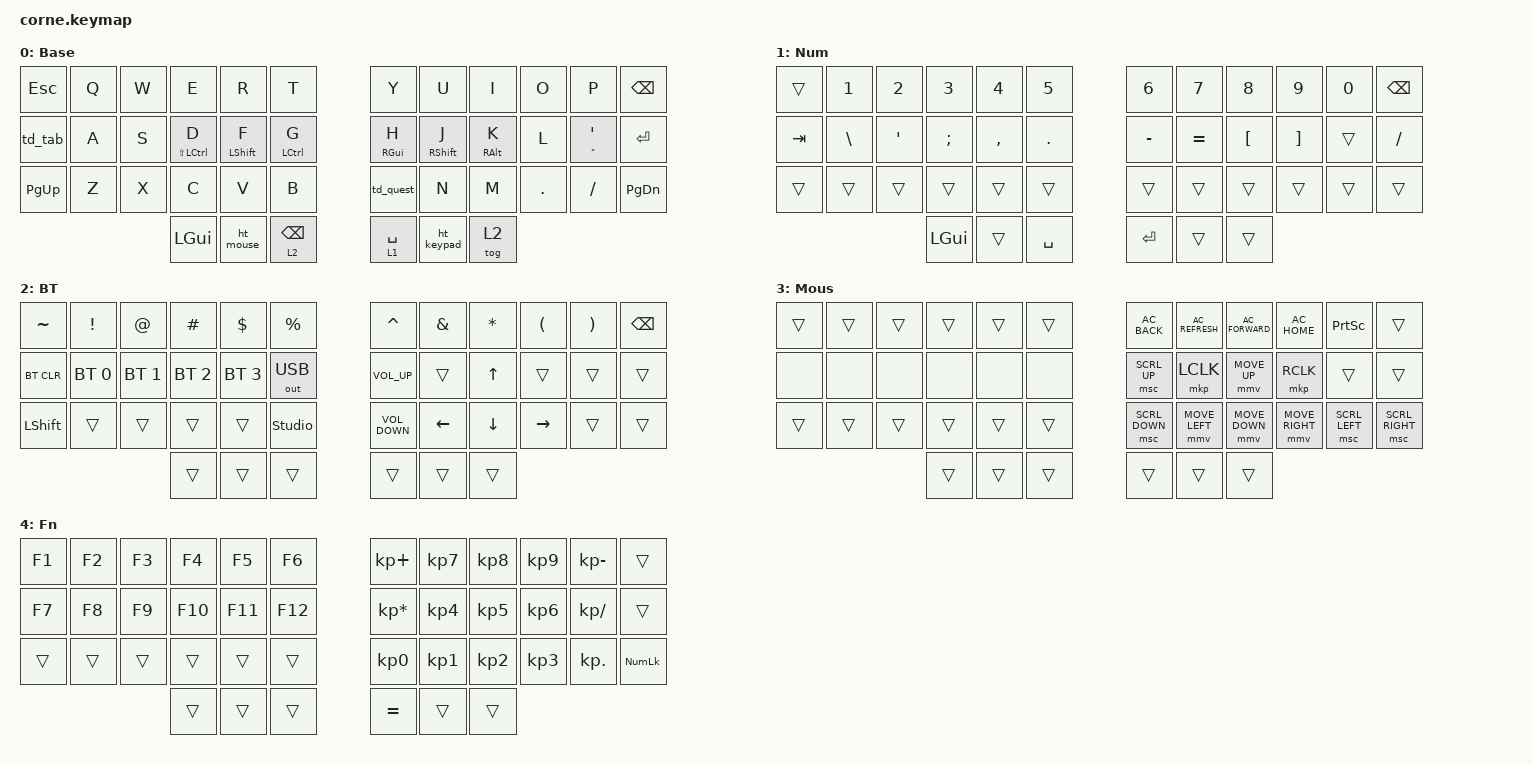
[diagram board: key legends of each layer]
/*
 * Copyright (c) 2020 The ZMK Contributors
 *
 * SPDX-License-Identifier: MIT
 */

#define ZMK_POINTING_DEFAULT_MOVE_VAL 1200  // default: 600
#define ZMK_POINTING_DEFAULT_SCRL_VAL 20    // default: 10

#include <behaviors.dtsi>
#include <dt-bindings/zmk/bt.h>
#include <dt-bindings/zmk/keys.h>
#include <dt-bindings/zmk/outputs.h>
#include <dt-bindings/zmk/pointing.h>

/ {
    behaviors {
        hm: hm {
            compatible = "zmk,behavior-hold-tap";
            label = "HM";
            bindings = <&kp>, <&kp>;

            #binding-cells = <2>;
            tapping-term-ms = <180>;
            flavor = "balanced";
            require-prior-idle-ms = <130>;
        };

        td_tab: td_tab {
            compatible = "zmk,behavior-tap-dance";
            label = "TD_TAB";
            #binding-cells = <0>;
            bindings = <&kp TAB>, <&kp CAPS>;
        };

        ht_keypad: ht_keypad {
            compatible = "zmk,behavior-tap-dance";
            label = "HT_KEYPAD";
            #binding-cells = <0>;
            bindings = <&mo 4>, <&tog 4>;
        };

        td_quest: td_quest {
            compatible = "zmk,behavior-tap-dance";
            label = "TD_QUEST";
            #binding-cells = <0>;
            bindings = <&kp COMMA>, <&kp QUESTION>;

            tapping-term-ms = <200>;
        };

        ht_mouse: ht_mouse {
            compatible = "zmk,behavior-tap-dance";
            label = "HT_MOUSE";
            #binding-cells = <0>;
            bindings = <&mo 3>, <&tog 3>;
        };
    };

    keymap {
        compatible = "zmk,keymap";

        Base {
            display-name = "Base";

            // -----------------------------------------------------------------------------------------
            // |  TAB |  Q  |  W  |  E  |  R  |  T  |   |  Y  |  U   |  I  |  O  |  P  | BSPC |
            // | CTRL |  A  |  S  |  D  |  F  |  G  |   |  H  |  J   |  K  |  L  |  ;  |  '   |
            // | SHFT |  Z  |  X  |  C  |  V  |  B  |   |  N  |  M   |  ,  |  .  |  /  | ESC  |
            //                    | GUI | LWR | SPC |   | ENT | RSE  | ALT |

            bindings = <
&kp ESCAPE  &kp Q  &kp W  &kp E            &kp R        &kp T              &kp Y            &kp U              &kp I            &kp O    &kp P                   &kp BSPC
&td_tab     &kp A  &kp S  &hm LS(LCTRL) D  &hm LSHFT F  &hm LCTRL G        &hm RIGHT_GUI H  &hm RIGHT_SHIFT J  &hm RIGHT_ALT K  &kp L    &mt DOUBLE_QUOTES APOS  &kp ENTER
&kp PG_UP   &kp Z  &kp X  &kp C            &kp V        &kp B              &td_quest        &kp N              &kp M            &kp DOT  &kp FSLH                &kp PAGE_DOWN
                          &kp LGUI         &ht_mouse    &lt 2 BACKSPACE    &lt 1 SPACE      &ht_keypad         &tog 2
            >;
        };

        Num {
            display-name = "Num";

            // -----------------------------------------------------------------------------------------
            // |  TAB |  1  |  2  |  3  |  4  |  5  |   |  6  |  7  |  8  |  9  |  0  | BSPC |
            // | BTCLR| BT1 | BT2 | BT3 | BT4 | BT5 |   | LFT | DWN |  UP | RGT |     |      |
            // | SHFT |     |     |     |     |     |   |     |     |     |     |     |      |
            //                    | GUI |     | SPC |   | ENT |     | ALT |

            bindings = <
&trans   &kp N1         &kp N2            &kp N3         &kp N4     &kp N5        &kp N6     &kp N7     &kp N8            &kp N9             &kp N0  &kp BSPC
&kp TAB  &kp BACKSLASH  &kp SINGLE_QUOTE  &kp SEMICOLON  &kp COMMA  &kp PERIOD    &kp MINUS  &kp EQUAL  &kp LEFT_BRACKET  &kp RIGHT_BRACKET  &trans  &kp SLASH
&trans   &trans         &trans            &trans         &trans     &trans        &trans     &trans     &trans            &trans             &trans  &trans
                                          &kp LGUI       &trans     &kp SPACE     &kp RET    &trans     &trans
            >;
        };

        BT {
            display-name = "BT";

            // -----------------------------------------------------------------------------------------
            // |  TAB |  !  |  @  |  #  |  $  |  %  |   |  ^  |  &  |  *  |  (  |  )  | BSPC |
            // | CTRL |     |     |     |     |     |   |  -  |  =  |  [  |  ]  |  \  |  `   |
            // | SHFT |     |     |     |     |     |   |  _  |  +  |  {  |  }  |  |  |  ~   |
            //                    | GUI |     | SPC |   | ENT |     | ALT |

            bindings = <
&kp TILDE   &kp EXCL      &kp AT        &kp HASH      &kp DLLR      &kp PRCNT         &kp CARET          &kp AMPS  &kp ASTRK     &kp LPAR   &kp RPAR  &kp BSPC
&bt BT_CLR  &bt BT_SEL 0  &bt BT_SEL 1  &bt BT_SEL 2  &bt BT_SEL 3  &out OUT_USB      &kp C_VOLUME_UP    &trans    &kp UP_ARROW  &trans     &trans    &trans
&kp LSHFT   &trans        &trans        &trans        &trans        &studio_unlock    &kp C_VOLUME_DOWN  &kp LEFT  &kp DOWN      &kp RIGHT  &trans    &trans
                                        &trans        &trans        &trans            &trans             &trans    &trans
            >;
        };

        Mouse {
            display-name = "Mous";
            bindings = <
&trans  &trans  &trans  &trans  &trans  &trans    &kp C_AC_BACK   &kp C_AC_REFRESH  &kp C_AC_FORWARD  &kp C_AC_HOME    &kp PRINTSCREEN  &trans
&none   &none   &none   &none   &none   &none     &msc SCRL_UP    &mkp LCLK         &mmv MOVE_UP      &mkp RCLK        &trans           &trans
&trans  &trans  &trans  &trans  &trans  &trans    &msc SCRL_DOWN  &mmv MOVE_LEFT    &mmv MOVE_DOWN    &mmv MOVE_RIGHT  &msc SCRL_LEFT   &msc SCRL_RIGHT
                        &trans  &trans  &trans    &trans          &trans            &trans
            >;
        };

        FN {
            display-name = "Fn";
            bindings = <
&kp F1  &kp F2  &kp F3  &kp F4   &kp F5   &kp F6     &kp KP_PLUS      &kp KP_NUMBER_7  &kp KP_NUMBER_8  &kp KP_NUMBER_9  &kp KP_SUBTRACT  &trans
&kp F7  &kp F8  &kp F9  &kp F10  &kp F11  &kp F12    &kp KP_MULTIPLY  &kp KP_NUMBER_4  &kp KP_NUMBER_5  &kp KP_NUMBER_6  &kp KP_DIVIDE    &trans
&trans  &trans  &trans  &trans   &trans   &trans     &kp KP_NUMBER_0  &kp KP_NUMBER_1  &kp KP_NUMBER_2  &kp KP_NUMBER_3  &kp KP_DOT       &kp KP_NUMLOCK
                        &trans   &trans   &trans     &kp EQUAL        &trans           &trans
            >;
        };
    };
};
